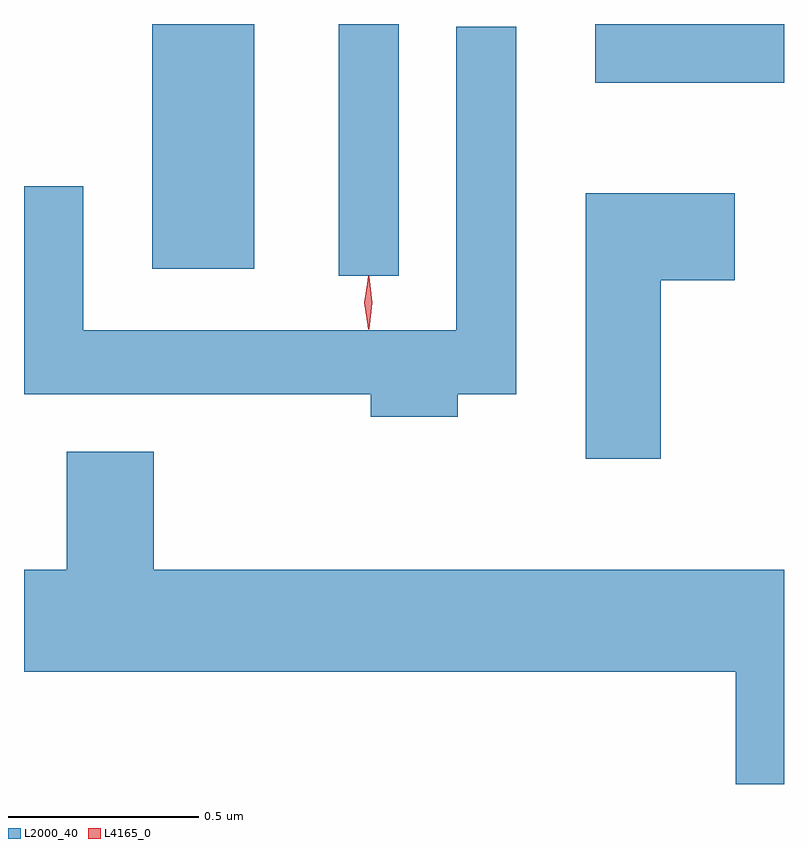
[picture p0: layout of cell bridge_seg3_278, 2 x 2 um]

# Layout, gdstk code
import gdstk
lib = gdstk.Library(unit=1e-6, precision=1e-09)
def R(c, l, rs):  # rectangles x0, y0, x1, y1
    for r in rs: c.add(gdstk.rectangle(r[:2], r[2:], *l))
def P(c, l, *ps):  # polygons
    for p in ps: c.add(gdstk.Polygon(p, *l))
L2000_40 = (2000, 40)
L4165_0 = (4165, 0)

bridge_seg3_278 = lib.new_cell('bridge_seg3_278')
R(bridge_seg3_278, L2000_40, [(1047.516,1135.938,1047.674,1136.6), (1047.026,1135.956,1047.294,1136.6), (1048.191,1136.446,1048.688,1136.6)])
P(bridge_seg3_278, L2000_40, [(1047.829,1135.626),(1047.984,1135.626),(1047.984,1136.593),(1047.826,1136.593),(1047.826,1135.794),(1046.844,1135.794),(1046.844,1136.173),(1046.688,1136.173),(1046.688,1135.626),(1047.601,1135.626),(1047.601,1135.566),(1047.829,1135.566)],
  [(1048.364,1135.926),(1048.559,1135.926),(1048.559,1136.154),(1048.166,1136.154),(1048.166,1135.456),(1048.364,1135.456)],
  [(1048.688,1135.164),(1047.029,1135.164),(1047.029,1135.474),(1046.801,1135.474),(1046.801,1135.164),(1046.688,1135.164),(1046.688,1134.896),(1048.561,1134.896),(1048.561,1134.6),(1048.688,1134.6)])
P(bridge_seg3_278, L4165_0, [(1047.594,1135.797),(1047.585,1135.866),(1047.594,1135.936),(1047.595,1135.936),(1047.596,1135.936),(1047.605,1135.866),(1047.596,1135.797),(1047.595,1135.797)],
  [(1047.594,1135.799),(1047.594,1135.8),(1047.584,1135.866),(1047.594,1135.932),(1047.594,1135.933),(1047.595,1135.932),(1047.604,1135.866),(1047.595,1135.8)])

lib.write_gds('bridge_seg3_278.gds')
